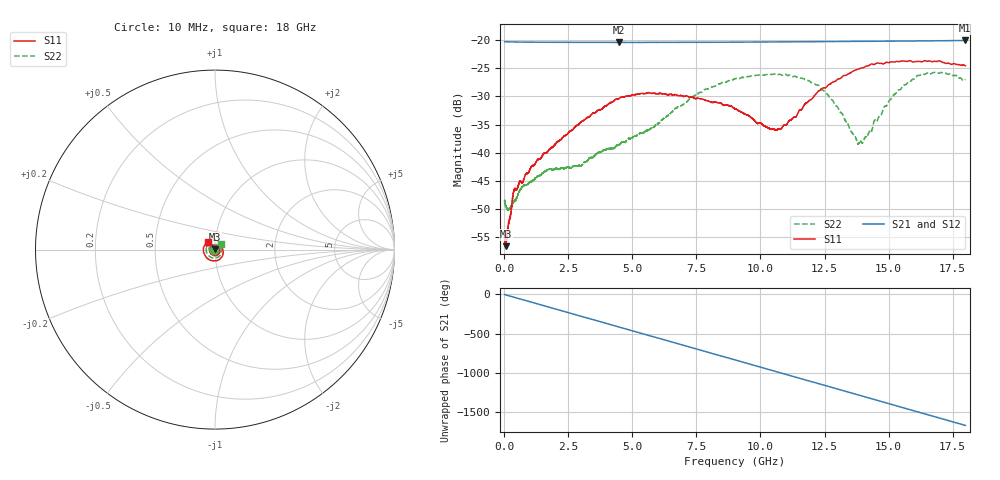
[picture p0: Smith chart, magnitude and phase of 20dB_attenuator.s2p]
!Keysight Technologies,N5242B,US61255121,A.15.50.07
!Date: Wednesday, October 01, 2025 14:38:47
!Correction: S11(C  2-Port  )
!S21(C  2-Port  )
!S12(C  2-Port  )
!S22(C  2-Port  )
!S2P File: Measurements: S11, S21, S12, S22:
# Hz S  dB  R 50
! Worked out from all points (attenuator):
!   10001 points, 10 MHz to 18 GHz, reference 50 ohm
!   highest |S21| = -20.06 dB at 17.99 GHz (marker M1); lowest = -20.4 dB at 4.486 GHz (marker M2)
!   lowest |S11| = -56.6 dB at 51.38 MHz (marker M3), VSWR 1.00, Z = 49.9 + j0.0969 ohm
!   |S11| at or under -10 dB: start of sweep to end of sweep
!   |S22| runs from -50.2 to -25.7 dB; largest |S21 - S12| = 0.00032
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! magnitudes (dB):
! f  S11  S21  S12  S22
! 10 MHz  -54.6  -20.3  -20.3  -48.5
! 51.38 MHz  -56.6  -20.3  -20.3  -49.6
! 182.7 MHz  -52.3  -20.3  -20.3  -50.1
! 344.6 MHz  -47.2  -20.3  -20.3  -48.8
! 432.8 MHz  -46.5  -20.3  -20.3  -48.5
! 726 MHz  -45.2  -20.4  -20.4  -46.0
! 1.683 GHz  -39.9  -20.4  -20.4  -43.1
! 3.009 GHz  -34.5  -20.4  -20.4  -42.3
! 4.486 GHz  -30.3  -20.4  -20.4  -38.5
! 6.008 GHz  -29.5  -20.4  -20.4  -34.8
! 7.58 GHz  -30.3  -20.4  -20.4  -29.4
! 9.005 GHz  -32.2  -20.4  -20.4  -26.9
! 10.69 GHz  -35.8  -20.3  -20.3  -26.1
! 12 GHz  -30.5  -20.3  -20.3  -27.6
! 12.8 GHz  -27.5  -20.3  -20.3  -30.7
! 13.85 GHz  -25.1  -20.2  -20.2  -38.3
! 14.26 GHz  -24.4  -20.2  -20.2  -36.2
! 15 GHz  -24.0  -20.2  -20.2  -30.9
! 16.28 GHz  -23.8  -20.1  -20.1  -26.1
! 17.11 GHz  -23.9  -20.1  -20.1  -25.8
! 17.99 GHz  -24.5  -20.1  -20.1  -27.0
! 18 GHz  -24.6  -20.1  -20.1  -27.0
